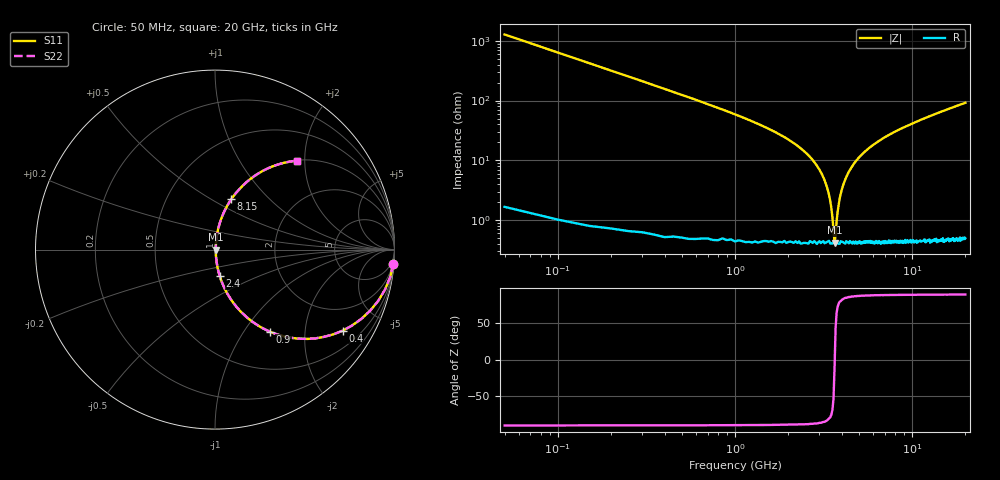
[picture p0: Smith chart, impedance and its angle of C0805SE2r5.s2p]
! AVX Thin Film Operation		Date: April 2012
! Description: Accu-P® Series, Thin Film, SMD, RF Capacitor
! Part Number: 08051J2R5QBTTR
!	100	MHz	-	20.05	GHz
!	Serial	Measurements
#	MHZ	S	MA	R	50
!	S11	S21	S12	S22
!	dB	Phase	dB	Phase	dB	Phase	dB	Phase
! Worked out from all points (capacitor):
!   400 points, 50 MHz to 20 GHz, reference 50 ohm
!   read as one part in series: C = 2.5 pF near 150 MHz
!   lowest |Z| = 417 mohm at 3.65 GHz (marker M1)
!   series resonance near 3.657 GHz, so ESL is about 760 pH
!   S11 on the Smith chart (normalised r, x): 50 MHz: 1, -25; 400 MHz: 1.01, -3.15; 900 MHz: 1.01, -1.33; 2.4 GHz: 1.01, -0.30; 8.15 GHz: 1.01, +0.62; 20 GHz: 1.01, +1.84
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50  0.997 -4.5  0.078 85.4  0.078 85.4  0.997 -4.5
100  0.988 -8.9  0.155 81.0  0.155 81.0  0.988 -8.9
150  0.973 -13.3  0.23 76.6  0.23 76.6  0.973 -13.3
250  0.929 -21.5  0.367 68.3  0.367 68.3  0.929 -21.5
400  0.843 -32.4  0.536 57.4  0.536 57.4  0.843 -32.4
900  0.552 -56.1  0.83 33.5  0.83 33.5  0.552 -56.1
1500  0.332 -69.9  0.939 19.4  0.939 19.4  0.332 -69.9
2400  0.149 -79.8  0.985 8.6  0.985 8.6  0.149 -79.8
3100  0.058 -82.5  0.994 3.3  0.994 3.3  0.058 -82.5
3400  0.026 -79.1  0.995 1.4  0.995 1.4  0.026 -79.1
3500  0.016 -73.7  0.996 0.9  0.996 0.9  0.016 -73.7
3650  0.004249 -8.9  0.996 0.0  0.996 0.0  0.004249 -8.9
3800  0.014 71.7  0.996 -0.8  0.996 -0.8  0.014 71.7
3900  0.023 78.1  0.996 -1.3  0.996 -1.3  0.023 78.1
4350  0.061 82.6  0.994 -3.5  0.994 -3.5  0.061 82.6
5300  0.131 80.7  0.987 -7.5  0.987 -7.5  0.131 80.7
6700  0.218 76.3  0.972 -12.6  0.972 -12.6  0.218 76.3
8150  0.295 72.1  0.951 -17.1  0.951 -17.1  0.295 72.1
10050  0.382 66.9  0.92 -22.5  0.92 -22.5  0.382 66.9
13350  0.505 59.2  0.859 -30.3  0.859 -30.3  0.505 59.2
16700  0.602 52.7  0.795 -37.0  0.795 -37.0  0.602 52.7
20000  0.675 47.2  0.734 -42.5  0.734 -42.5  0.675 47.2
